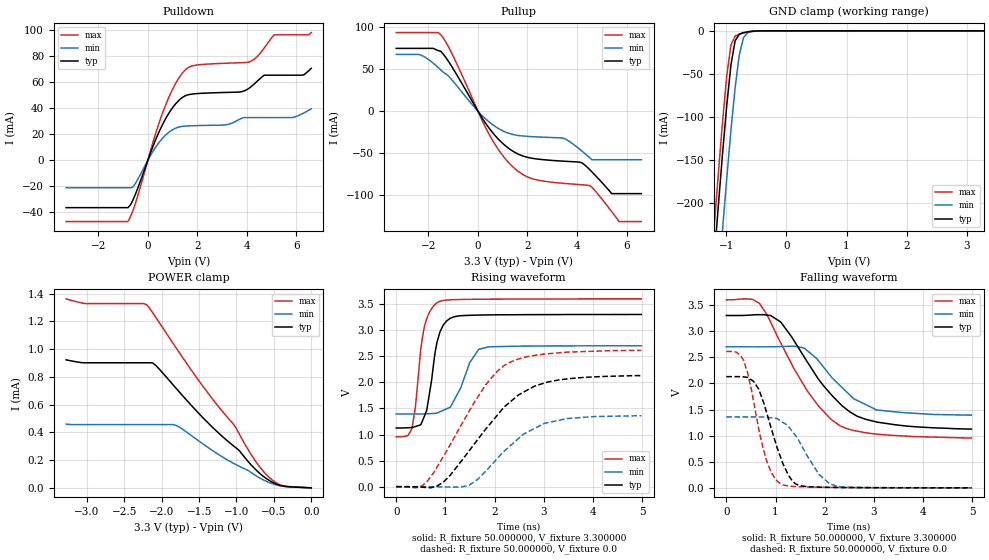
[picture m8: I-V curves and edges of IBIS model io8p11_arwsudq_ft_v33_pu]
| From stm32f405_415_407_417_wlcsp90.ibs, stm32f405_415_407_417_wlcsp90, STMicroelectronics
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|   Model io8p11_arwsudq_ft_v33_pu
[Model]  io8p11_arwsudq_ft_v33_pu
Model_type I/O
Polarity   Non-Inverting
Enable   Active-Low
Vinl =   0.990000V
Vinh =   2.310000V
Vmeas =  1.650000V
Cref =   30.000000pF
Rref =   100.000000M
Vref =   0.0V
C_comp   2.911600pF   2.826600pF   2.988000pF
[Temperature Range]   25.000000   0.125000k   -40.000000
[Pullup Reference]   3.300000V   2.700000V   3.600000V
[Pulldown Reference]   0.0V   0.0V   0.0V
[POWER Clamp Reference]   3.300000V   2.700000V   3.600000V
[GND Clamp Reference]   0.0V   0.0V   0.0V
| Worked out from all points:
|   slope of the pulldown table from 0 to 0.495 V, typ, clamps not added: 20.9 ohm
|   slope of the pullup table from 0 to 0.495 V, typ, clamps not added: 22.6 ohm
|   GND clamp passes 1 mA (typ) near -0.62 V on its own axis
|   rising waveform, R_fixture 50.000000, V_fixture 3.300000: 20-80 % time 222ps typ, 364ps min, 191ps max; typ from 1.12 V to 3.3 V
|   rising waveform, R_fixture 50.000000, V_fixture 0.0: 20-80 % time 1.15ns typ, 960ps min, 1.02ns max; typ from 0.001 V to 2.13 V
|   falling waveform, R_fixture 50.000000, V_fixture 3.300000: 20-80 % time 1.02ns typ, 835ps min, 1ns max; typ from 3.3 V to 1.12 V
|   falling waveform, R_fixture 50.000000, V_fixture 0.0: 20-80 % time 438ps typ, 539ps min, 360ps max; typ from 2.13 V to 0.001 V
[Pulldown]
|Voltage   I(typ)   I(min)   I(max)
-3.3V     -36.38mA   -21.07mA   -47.09mA
-800mV    -36.38mA   -21.07mA   -47.09mA
-600mV    -30.5mA    -20.54mA   -38.69mA
700mV     31.4mA     19.11mA    41.71mA
1.2V      45.15mA    25.37mA    61.75mA
1.6V      50.35mA    26.5mA     71.06mA
3.1V      52.28mA    27.26mA    74.76mA
4.1V      55.65mA    32.94mA    75.79mA
4.7V      65.59mA    32.94mA    86.49mA
5.1V      65.59mA    32.94mA    96.67mA
6.3V      65.82mA    36.48mA    96.67mA
6.6V      70.87mA    39.69mA    98.38mA
[Pullup]
|Voltage   I(typ)   I(min)   I(max)
-3.3V     74.6mA     67.42mA    93.38mA
-2.3V     74.6mA     66.59mA    93.38mA
-1.5V     71.22mA    49mA       90.81mA
-1V       50.43mA    35.45mA    65.35mA
500mV     -22.06mA   -14mA      -30.03mA
1.6V      -50.64mA   -28.81mA   -70.96mA
3.5V      -59.52mA   -32.65mA   -85.91mA
4.2V      -61.45mA   -47.47mA   -87.45mA
4.5V      -69.09mA   -55.01mA   -88.4mA
5.4V      -98mA      -57.7mA    -119.3mA
5.7V      -98mA      -57.7mA    -131.2mA
6.6V      -98mA      -57.7mA    -131.2mA
[GND_clamp]
|Voltage   I(typ)   I(min)   I(max)
-3.3V     -2.32A     -2.397A    -2.297A
-1.2V     -266.4mA   -356.3mA   -229.4mA
-1.13V    -203.6mA   -293.1mA   -166.3mA
-1.06V    -143.2mA   -231.4mA   -106.2mA
-990mV    -86.95mA   -171.8mA   -52.65mA
-920mV    -39.66mA   -115.8mA   -16.36mA
-850mV    -11.49mA   -65.84mA   -6.11mA
-780mV    -3.834mA   -27.59mA   -3.88mA
-710mV    -2.09mA    -7.753mA   -2.381mA
-640mV    -1.147mA   -2.129mA   -1.22mA
-570mV    -523.9uA   -800uA     -476.8uA
3.28V     0A         0A         0A
[POWER_clamp]
|Voltage   I(typ)   I(min)   I(max)
-3.28V    922.4uA    459.4uA    1.362mA
-3.04V    901.4uA    455.8uA    1.329mA
-2.2V     901.4uA    455.8uA    1.319mA
-2.08V    882.2uA    455.8uA    1.23mA
-1.8V     712.4uA    448.4uA    1.003mA
-1.4V     478.6uA    298uA      696.5uA
-1.04V    302.3uA    176.6uA    458.6uA
-800mV    163uA      108.7uA    236.3uA
-640mV    82.53uA    56.82uA    118.4uA
-520mV    40.35uA    29.6uA     55.89uA
-400mV    15.52uA    13.26uA    18.69uA
0V        0A         0A         0A
[Ramp]
| variable   typ   min   max
dV/dt_r  1.26589/1.14053n   0.80907/0.95560n   1.56202/1.01814n
dV/dt_f  1.28172/1.01183n   0.77460/0.82445n   1.57153/1.00163n
R_load = 50.000000
[Rising Waveform]
R_fixture= 50.000000
V_fixture= 3.300000
V_fixture_min= 2.700000
V_fixture_max= 3.600000
|time   V(typ)   V(min)   V(max)
0s        1.125V     1.393V     955.5mV
320.3ps   1.134V     1.393V     1.119V
390.4ps   1.154V     1.393V     1.526V
500.5ps   1.187V     1.393V     2.639V
620.6ps   1.463V     1.398V     3.219V
850.9ps   2.839V     1.42V      3.536V
1.101ns   3.227V     1.525V     3.581V
1.491ns   3.284V     2.37V      3.59V
1.682ns   3.289V     2.633V     3.592V
4.985ns   3.3V       2.7V       3.599V
[Rising Waveform]
R_fixture= 50.000000
V_fixture= 0.0
V_fixture_min= 0.0
V_fixture_max= 0.0
|time   V(typ)   V(min)   V(max)
0s        1.302mV    1.126mV    1.747mV
550.6ps   -10.04mV   925.7uV    33.51mV
951ps     82.96mV    -2.953mV   566.2mV
1.481ns   685.7mV    27.94mV    1.444V
1.822ns   1.105V     300.8mV    1.955V
2.282ns   1.597V     753.4mV    2.369V
2.593ns   1.814V     1.01V      2.474V
3.023ns   1.99V      1.216V     2.543V
3.483ns   2.067V     1.307V     2.579V
4.985ns   2.129V     1.36V      2.612V
[Falling Waveform]
R_fixture= 50.000000
V_fixture= 3.300000
V_fixture_min= 2.700000
V_fixture_max= 3.600000
|time   V(typ)   V(min)   V(max)
0s        3.3V       2.7V       3.599V
530.5ps   3.31V      2.7V       3.608V
670.7ps   3.316V     2.7V       3.533V
1.101ns   3.178V     2.705V     2.785V
1.582ns   2.509V     2.677V     1.958V
1.872ns   2.084V     2.436V     1.569V
2.312ns   1.611V     1.959V     1.188V
2.583ns   1.415V     1.712V     1.1V
3.053ns   1.263V     1.492V     1.03V
4.985ns   1.125V     1.393V     955.5mV
[Falling Waveform]
R_fixture= 50.000000
V_fixture= 0.0
V_fixture_min= 0.0
V_fixture_max= 0.0
|time   V(typ)   V(min)   V(max)
0s        2.129V     1.36V      2.612V
350.4ps   2.124V     1.359V     2.441V
560.6ps   2.031V     1.359V     1.624V
670.7ps   1.863V     1.358V     1.074V
830.8ps   1.404V     1.35V      490.5mV
1.101ns   591.8mV    1.285V     81.93mV
1.401ns   82.43mV    1.008V     26.92mV
1.882ns   14.19mV    262mV      13.64mV
2.102ns   10.44mV    77.86mV    10.94mV
4.985ns   1.302mV    1.126mV    1.747mV
